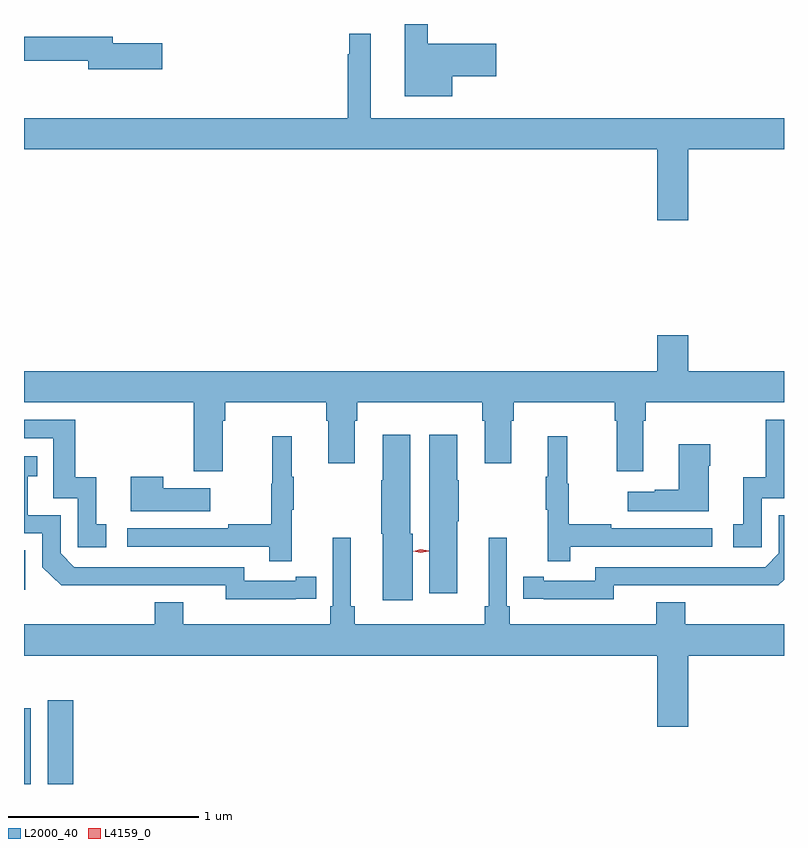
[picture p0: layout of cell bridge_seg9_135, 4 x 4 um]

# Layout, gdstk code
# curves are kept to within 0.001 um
import gdstk
lib = gdstk.Library(unit=1e-6, precision=1e-09)
def R(c, l, rs):  # rectangles x0, y0, x1, y1
    for r in rs: c.add(gdstk.rectangle(r[:2], r[2:], *l))
def P(c, l, *ps):  # polygons
    for p in ps: c.add(gdstk.Polygon(p, *l))
L2000_40 = (2000, 40)
L4159_0 = (4159, 0)

bridge_seg9_135 = lib.new_cell('bridge_seg9_135')
R(bridge_seg9_135, L2000_40, [(389.447,1190.416,389.482,1190.815), (389.573,1190.416,389.705,1190.857), (389.447,1191.438,389.454,1191.645)])
P(bridge_seg9_135, L2000_40, [(391.702,1194.14),(391.933,1194.14),(391.933,1194.311),(391.573,1194.311),(391.573,1194.416),(391.451,1194.416),(391.451,1194.035),(391.702,1194.035)],
  [(392.78,1193.382),(392.944,1193.382),(392.944,1193.756),(393.447,1193.756),(393.447,1193.92),(391.273,1193.92),(391.273,1194.364),(391.159,1194.364),(391.159,1194.257),(391.152,1194.257),(391.152,1193.92),(389.447,1193.92),(389.447,1193.756),(392.78,1193.756)],
  [(390.175,1194.314),(389.914,1194.314),(389.914,1194.35),(389.447,1194.35),(389.447,1194.222),(389.786,1194.222),(389.786,1194.179),(390.175,1194.179)],
  [(389.447,1192.424),(390.341,1192.424),(390.341,1192.062),(390.493,1192.062),(390.493,1192.328),(390.506,1192.328),(390.506,1192.424),(391.037,1192.424),(391.037,1192.328),(391.049,1192.328),(391.049,1192.104),(391.189,1192.104),(391.189,1192.328),(391.202,1192.328),(391.202,1192.424),(391.859,1192.424),(391.859,1192.328),(391.871,1192.328),(391.871,1192.104),(392.011,1192.104),(392.011,1192.328),(392.024,1192.328),(392.024,1192.424),(392.555,1192.424),(392.555,1192.328),(392.567,1192.328),(392.567,1192.062),(392.707,1192.062),(392.707,1192.328),(392.72,1192.328),(392.72,1192.424),(393.447,1192.424),(393.447,1192.588),(392.944,1192.588),(392.944,1192.777),(392.78,1192.777),(392.78,1192.588),(389.447,1192.588)],
  [(389.881,1191.783),(389.828,1191.783),(389.828,1192.03),(389.717,1192.03),(389.717,1192.332),(389.447,1192.332),(389.447,1192.236),(389.601,1192.236),(389.601,1191.921),(389.73,1191.921),(389.73,1191.663),(389.881,1191.663)],
  [(393.33,1191.921),(393.447,1191.921),(393.447,1192.332),(393.351,1192.332),(393.351,1192.03),(393.233,1192.03),(393.233,1191.783),(393.18,1191.783),(393.18,1191.663),(393.33,1191.663)],
  [(391.492,1191.732),(391.48,1191.732),(391.48,1192.255),(391.334,1192.255),(391.334,1192.016),(391.327,1192.016),(391.327,1191.732),(391.334,1191.732),(391.334,1191.384),(391.492,1191.384)],
  [(391.726,1191.799),(391.734,1191.799),(391.734,1192.016),(391.726,1192.016),(391.726,1192.255),(391.58,1192.255),(391.58,1191.42),(391.726,1191.42)],
  [(390.857,1191.859),(390.868,1191.859),(390.868,1192.033),(390.857,1192.033),(390.857,1192.246),(390.754,1192.246),(390.754,1191.996),(390.747,1191.996),(390.747,1191.782),(390.523,1191.782),(390.523,1191.762),(389.991,1191.762),(389.991,1191.666),(390.739,1191.666),(390.739,1191.588),(390.857,1191.588)],
  [(392.321,1191.666),(393.07,1191.666),(393.07,1191.762),(392.537,1191.762),(392.537,1191.782),(392.314,1191.782),(392.314,1191.996),(392.306,1191.996),(392.306,1192.246),(392.204,1192.246),(392.204,1192.033),(392.193,1192.033),(392.193,1191.859),(392.204,1191.859),(392.204,1191.588),(392.321,1191.588)],
  [(393.052,1192.091),(393.06,1192.091),(393.06,1192.204),(392.894,1192.204),(392.894,1191.965),(392.768,1191.965),(392.768,1191.955),(392.625,1191.955),(392.625,1191.851),(393.052,1191.851)],
  [(390.878,1191.39),(390.986,1191.39),(390.986,1191.506),(390.878,1191.506),(390.878,1191.486),(390.606,1191.486),(390.606,1191.558),(389.712,1191.558),(389.64,1191.63),(389.64,1191.831),(389.467,1191.831),(389.467,1192.035),(389.516,1192.035),(389.516,1192.141),(389.447,1192.141),(389.447,1191.735),(389.544,1191.735),(389.544,1191.558),(389.642,1191.461),(390.51,1191.462),(390.51,1191.389)],
  [(390.427,1191.973),(390.179,1191.973),(390.179,1192.033),(390.008,1192.033),(390.008,1191.851),(390.427,1191.851)],
  [(392.55,1191.462),(393.418,1191.461),(393.447,1191.49),(393.447,1191.831),(393.42,1191.831),(393.42,1191.63),(393.348,1191.558),(392.454,1191.558),(392.454,1191.486),(392.182,1191.486),(392.182,1191.506),(392.074,1191.506),(392.074,1191.39),(392.55,1191.389)],
  [(392.944,1191.092),(393.447,1191.092),(393.447,1191.256),(392.927,1191.256),(392.927,1191.373),(392.774,1191.373),(392.774,1191.256),(392.003,1191.256),(392.003,1191.352),(391.989,1191.352),(391.989,1191.712),(391.892,1191.712),(391.892,1191.352),(391.873,1191.352),(391.873,1191.256),(391.187,1191.256),(391.187,1191.352),(391.168,1191.352),(391.168,1191.712),(391.071,1191.712),(391.071,1191.352),(391.058,1191.352),(391.058,1191.256),(390.286,1191.256),(390.286,1191.373),(390.134,1191.373),(390.134,1191.256),(389.447,1191.256),(389.447,1191.092),(392.78,1191.092),(392.78,1190.718),(392.944,1190.718)])
P(bridge_seg9_135, L4159_0, [(391.536,1191.632),(391.496,1191.642),(391.495,1191.642),(391.496,1191.642),(391.536,1191.652),(391.577,1191.643),(391.577,1191.642),(391.577,1191.642)])

lib.write_gds('bridge_seg9_135.gds')
